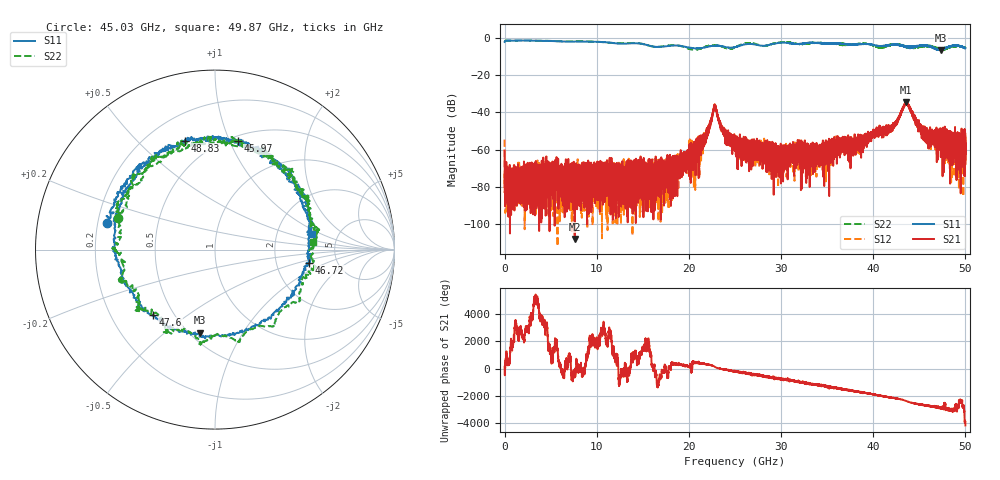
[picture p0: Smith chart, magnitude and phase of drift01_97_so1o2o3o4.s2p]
!Created with skrf (http://scikit-rf.org).
# Hz S RI R 50.0
!freq ReS11 ImS11 ReS21 ImS21 ReS12 ImS12 ReS22 ImS22
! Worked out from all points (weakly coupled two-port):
!   10001 points, 300 kHz to 50 GHz, reference 50 ohm
!   highest |S21| = -34.69 dB at 43.52 GHz (marker M1); lowest = -108.1 dB at 7.605 GHz (marker M2)
!   lowest |S11| = -6.6 dB at 47.37 GHz (marker M3), VSWR 2.77, Z = 28 - j33.3 ohm
!   |S11| at or under -10 dB: nowhere
!   |S22| runs from -6.6 to -1.4 dB; largest |S21 - S12| = 0.0039
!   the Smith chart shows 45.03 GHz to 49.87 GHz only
!   S11 on the Smith chart (normalised r, x): 45.03 GHz: 0.24, +0.11; 45.97 GHz: 0.55, +1.07; 46.72 GHz: 3.12, -0.65; 47.6 GHz: 0.39, -0.38; 48.83 GHz: 0.35, +0.70; 49.87 GHz: 3.22, +0.79
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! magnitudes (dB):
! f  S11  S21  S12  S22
! 300 kHz  -2.1  -60.4  -54.7  -2.1
! 365.3 MHz  -1.4  -84.2  -75.8  -1.4
! 7.605 GHz  -1.9  -108.1  -71.6  -1.8
! 8.335 GHz  -1.9  -73.2  -73.4  -1.8
! 16.67 GHz  -4.8  -76.1  -82.7  -4.8
! 20.72 GHz  -5.6  -60.7  -58.5  -6.3
! 21.72 GHz  -5.1  -53.7  -52.9  -4.8
! 22.8 GHz  -4.3  -36.6  -36.2  -4.0
! 23.75 GHz  -4.6  -48.2  -50.0  -5.0
! 25 GHz  -5.0  -58.0  -60.3  -5.1
! 29.97 GHz  -2.6  -60.4  -64.7  -2.3
! 33.34 GHz  -2.6  -59.0  -60.1  -2.7
! 41.67 GHz  -3.9  -48.6  -48.4  -4.4
! 43.52 GHz  -4.6  -34.7  -35.2  -4.8
! 45.03 GHz  -4.2  -48.2  -46.8  -4.9
! 45.97 GHz  -4.2  -59.3  -53.3  -4.5
! 46.72 GHz  -5.5  -54.2  -59.9  -5.2
! 47.37 GHz  -6.6  -53.4  -55.3  -5.9
! 47.6 GHz  -6.0  -53.7  -53.4  -5.5
! 48.83 GHz  -4.0  -55.2  -66.1  -4.5
! 49.87 GHz  -5.2  -52.7  -56.2  -5.3
! 50 GHz  -5.4  -56.8  -66.5  -5.4
